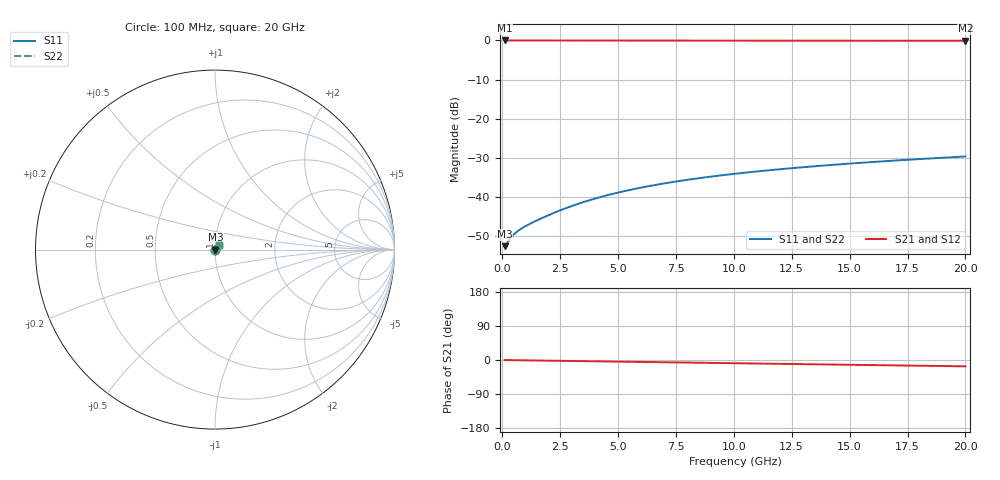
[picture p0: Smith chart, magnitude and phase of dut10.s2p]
! Touchstone file exported from HFSS 2026.1.0
!  File:  C:/ffzhzh/LocalFiles/Ansys_Project_Files/temp_test_TMRDL_10_1782906988_8056.aedt
!  Generated:  07:57:39 PM Jul  1, 2026
!  Design:  TMRDL
!  Project:  temp_test_TMRDL_10_1782906988_8056
! Variables:
!  h_bsmrdl = 2um
!  h_ox = 20um
!  h_rdl = 5um
!  h_sub = 80um
!  h_tmrdl = 3.56um
!  h_tsv = 80um
!  h_via = 3um
!  l_bsmrdl = 300um
!  l_sub = 696.51um
!  l_tmrdl = 296.51um
!  m_sub = 200um
!  pitch = 17.69um
!  r_tsv = 6um
!  s_tmrdl = 10um
!  w_bsmrdl = 18um
!  w_sub = 500um
!  w_tmrdl = 13.64um
!  x_tsv_center1 = 303.33um
!  x_tsv_center2 = 621.33um
!  x_tsv_center3 = 931.48um
!  x_tsv_center4 = 1249.48um
!  x_tsv_center5 = 1559.63um
!  x_tsv_center6 = 1877.63um
# GHz S MA R 50.000000
! Terminal data exported
! Port[1] = TM_RDL1_1_T1
! Port[2] = TM_RDL1_1_T2
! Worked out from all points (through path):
!   200 points, 100 MHz to 20 GHz, reference 50 ohm
!   highest |S21| = -0.02 dB at 100 MHz (marker M1); lowest = -0.1 dB at 20 GHz (marker M2)
!   group delay of S21, straight-line fit = 2.31 ps
!   lowest |S11| = -52.5 dB at 100 MHz (marker M3), VSWR 1.00, Z = 50.2 + j0.0442 ohm
!   |S11| at or under -10 dB: start of sweep to end of sweep
!   |S22| runs from -52.5 to -29.6 dB; largest |S21 - S12| = 4e-15
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0.1  0.002378 10.7  0.9977 -0.1  0.9977 -0.1  0.002378 10.7
! Gamma 0 0 0 0
! Port Impedance 50 0 50 0
0.4  0.00312 27.6  0.9972 -0.4  0.9972 -0.4  0.00312 27.6
0.5  0.003359 30.0  0.9971 -0.5  0.9971 -0.5  0.00336 30.0
0.6  0.003573 31.9  0.997 -0.6  0.997 -0.6  0.003573 31.9
0.7  0.003765 33.5  0.9969 -0.6  0.9969 -0.6  0.003765 33.5
1  0.004273 37.9  0.9967 -0.9  0.9967 -0.9  0.004273 37.9
1.5  0.005074 44.3  0.9964 -1.3  0.9964 -1.3  0.005074 44.3
2.2  0.00627 50.9  0.9962 -1.9  0.9962 -1.9  0.00627 50.9
2.8  0.00736 54.6  0.996 -2.4  0.996 -2.4  0.007361 54.6
3.5  0.008668 57.3  0.9957 -3.0  0.9957 -3.0  0.008669 57.3
4.2  0.009983 59.0  0.9954 -3.6  0.9954 -3.6  0.009984 58.9
5  0.01147 60.0  0.995 -4.3  0.995 -4.3  0.01147 59.9
5.9  0.0131 60.4  0.9945 -5.1  0.9945 -5.1  0.0131 60.4
6.8  0.01468 60.4  0.994 -5.8  0.994 -5.8  0.01468 60.4
7.5  0.01587 60.3  0.9936 -6.4  0.9936 -6.4  0.01587 60.2
8.3  0.01719 60.0  0.9932 -7.1  0.9932 -7.1  0.01719 59.9
10.1  0.02 59.0  0.9922 -8.6  0.9922 -8.6  0.02001 59.0
11.7  0.02235 58.1  0.9914 -9.9  0.9914 -9.9  0.02236 58.0
13.4  0.02472 57.1  0.9906 -11.3  0.9906 -11.3  0.02473 57.0
15  0.02685 56.1  0.9898 -12.6  0.9898 -12.6  0.02687 56.0
16.7  0.02904 55.1  0.9891 -14.0  0.9891 -14.0  0.02906 55.0
20  0.03311 53.1  0.9879 -16.7  0.9879 -16.7  0.03313 52.9
